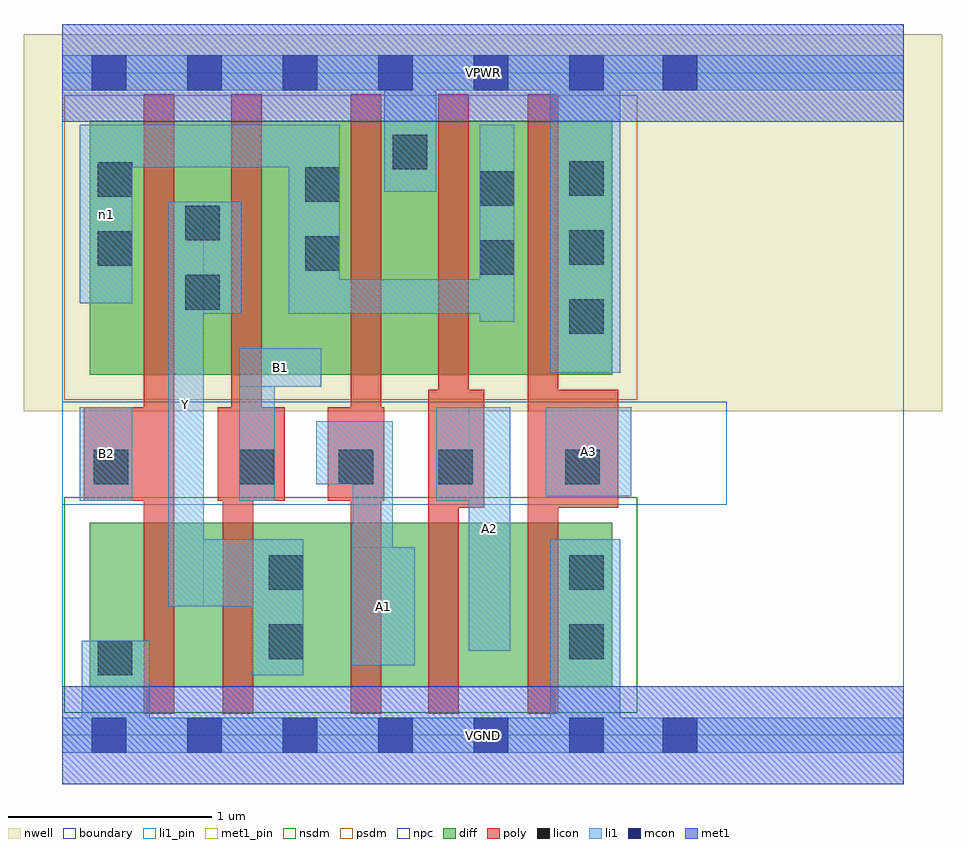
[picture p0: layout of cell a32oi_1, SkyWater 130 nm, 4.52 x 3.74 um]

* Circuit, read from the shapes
.subckt a32oi_1 A1 A2 A3 B1 B2 VGND VPWR Y n1
XM1 n2 B2 VGND VSUBS sky130_fd_pr__nfet_01v8 w=0.81 l=0.15
XM2 Y B1 n2 VSUBS sky130_fd_pr__nfet_01v8 w=0.81 l=0.15
XM3 n3 A1 Y VSUBS sky130_fd_pr__nfet_01v8 w=0.81 l=0.15
XM4 n4 A2 n3 VSUBS sky130_fd_pr__nfet_01v8 w=0.81 l=0.15
XM5 VGND A3 n4 VSUBS sky130_fd_pr__nfet_01v8 w=0.81 l=0.15
XM6 Y B2 n1 n5 sky130_fd_pr__pfet_01v8 w=1.25 l=0.15
XM7 n1 B1 Y n5 sky130_fd_pr__pfet_01v8 w=1.25 l=0.15
XM8 VPWR A1 n1 n5 sky130_fd_pr__pfet_01v8 w=1.25 l=0.15
XM9 n1 A2 VPWR n5 sky130_fd_pr__pfet_01v8 w=1.25 l=0.15
XM10 VPWR A3 n1 n5 sky130_fd_pr__pfet_01v8 w=1.25 l=0.15
.ends

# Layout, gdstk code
import gdstk
lib = gdstk.Library(unit=1e-6, precision=1e-09)
def R(c, l, rs):  # rectangles x0, y0, x1, y1
    for r in rs: c.add(gdstk.rectangle(r[:2], r[2:], *l))
def A(c, l, x, y, w, h, nx, ny, dx, dy):  # array of equal rectangles
    R(c, l, [(x+i*dx, y+j*dy, x+i*dx+w, y+j*dy+h) for i in range(nx) for j in range(ny)])
nwell = (64, 20)
diff = (65, 20)
poly = (66, 20)
licon = (66, 44)
li1_pin = (67, 16)
li1 = (67, 20)
mcon = (67, 44)
met1_pin = (68, 16)
met1 = (68, 20)
nsdm = (93, 44)
psdm = (94, 20)
npc = (95, 20)
boundary = (235, 4)

a32oi_1 = lib.new_cell('a32oi_1')
R(a32oi_1, nwell, [(-0.19,1.595,4.33,3.45), (0,1.595,4.14,3.45)])
R(a32oi_1, diff, [(0.135,0.235,2.705,1.045), (0.135,1.775,2.705,3.025)])
R(a32oi_1, poly, [(0.4,0.105,0.55,3.155), (0.79,0.105,0.94,1.615), (1.42,0.105,1.57,3.155), (1.8,0.105,1.95,1.7), (2.29,0.105,2.44,3.155), (1.8,1.12,2.075,1.7), (1.85,1.12,2,3.155), (2.29,1.12,2.735,1.7), (0.105,1.155,0.55,1.615), (0.765,1.155,1.095,1.615), (0.83,1.155,0.98,3.155), (1.305,1.155,1.585,1.615)])
A(a32oi_1, licon, 0.87, 1.235, 0.17, 0.17, 3, 1, 0.49, 0)
A(a32oi_1, licon, 2.495, 1.975, 0.17, 0.17, 1, 3, 0, 0.34)
R(a32oi_1, licon, [(0.175,0.295,0.345,0.465), (1.015,0.375,1.185,0.545), (2.495,0.375,2.665,0.545), (1.015,0.715,1.185,0.885), (2.495,0.715,2.665,0.885), (0.155,1.235,0.325,1.405), (2.475,1.235,2.645,1.405), (0.605,2.095,0.775,2.265), (2.055,2.265,2.225,2.435), (1.195,2.285,1.365,2.455), (0.175,2.31,0.345,2.48), (0.605,2.435,0.775,2.605), (2.055,2.605,2.225,2.775), (1.195,2.625,1.365,2.795), (0.175,2.65,0.345,2.82), (1.625,2.785,1.795,2.955)])
R(a32oi_1, li1_pin, [(1.43,0.345,1.735,0.925), (2,0.415,2.205,1.615), (0.52,0.635,0.695,2.625), (0.085,1.155,0.345,1.615), (2.38,1.175,2.8,1.615), (0.87,1.715,1.275,1.905)])
R(a32oi_1, li1, [(0,-0.085,4.14,0.085), (0.095,-0.085,0.43,0.465), (2.4,-0.085,2.745,0.965), (0.93,0.295,1.185,0.965), (1.43,0.345,1.625,1.545), (1.43,0.345,1.735,0.925), (2,0.415,2.205,1.615), (0.52,0.635,0.695,2.625), (0.52,0.635,1.185,0.965), (0.085,1.155,0.345,1.615), (0.87,1.155,1.045,1.905), (1.84,1.155,2.205,1.615), (2.38,1.175,2.8,1.615), (1.25,1.235,1.625,1.545), (0.87,1.715,1.275,1.905), (2.4,1.785,2.745,3.345), (2.055,2.035,2.225,3.005), (0.52,2.075,0.88,2.625), (1.115,2.075,2.225,2.245), (1.115,2.075,1.365,3.005), (0.085,2.125,0.345,3.005), (1.585,2.675,1.84,3.345), (0.085,2.795,1.365,3.005), (0,3.175,4.14,3.345)])
A(a32oi_1, mcon, 0.145, -0.085, 0.17, 0.17, 6, 2, 0.47, 3.26)
R(a32oi_1, mcon, [(2.955,-0.085,3.125,0.085), (2.955,3.175,3.125,3.345)])
R(a32oi_1, met1_pin, [(0,-0.24,4.14,0.24), (0,3.02,4.14,3.5)])
R(a32oi_1, met1, [(0,-0.24,4.14,0.24), (0,3.02,4.14,3.5)])
R(a32oi_1, nsdm, [(0.01,0.11,2.83,1.17)])
R(a32oi_1, psdm, [(0.01,1.65,2.83,3.15)])
R(a32oi_1, npc, [(0,1.135,3.27,1.64)])
R(a32oi_1, boundary, [(0,0,4.14,3.26)])
a32oi_1.add(gdstk.Label('A1', (1.582,0.635), layer=67, texttype=5))
a32oi_1.add(gdstk.Label('A2', (2.102,1.015), layer=67, texttype=5))
a32oi_1.add(gdstk.Label('A3', (2.59,1.395), layer=67, texttype=5))
a32oi_1.add(gdstk.Label('B1', (1.072,1.81), layer=67, texttype=5))
a32oi_1.add(gdstk.Label('B2', (0.215,1.385), layer=67, texttype=5))
a32oi_1.add(gdstk.Label('Y', (0.607,1.63), layer=67, texttype=5))
a32oi_1.add(gdstk.Label('n1', (0.215,2.565), layer=67, texttype=5))
a32oi_1.add(gdstk.Label('VPWR', (2.07,3.26), layer=68, texttype=5))
a32oi_1.add(gdstk.Label('VGND', (2.07,0), layer=68, texttype=5))
a32oi_1.add(gdstk.Label('A1', (1.582,0.635), layer=67, texttype=16))
a32oi_1.add(gdstk.Label('A2', (2.102,1.015), layer=67, texttype=16))
a32oi_1.add(gdstk.Label('A3', (2.59,1.395), layer=67, texttype=16))
a32oi_1.add(gdstk.Label('B1', (1.072,1.81), layer=67, texttype=16))
a32oi_1.add(gdstk.Label('B2', (0.215,1.385), layer=67, texttype=16))
a32oi_1.add(gdstk.Label('Y', (0.607,1.63), layer=67, texttype=16))
a32oi_1.add(gdstk.Label('VPWR', (2.07,3.26), layer=68, texttype=16))
a32oi_1.add(gdstk.Label('VGND', (2.07,0), layer=68, texttype=16))

lib.write_gds('a32oi_1.gds')
